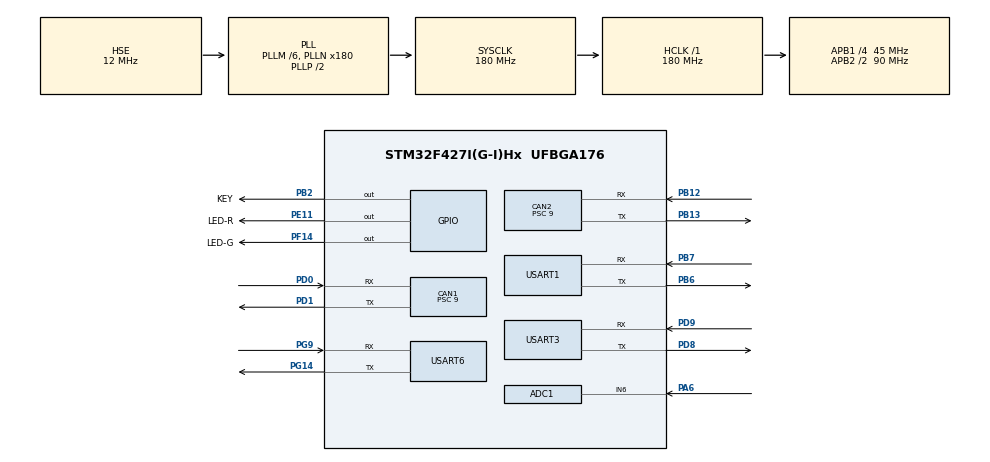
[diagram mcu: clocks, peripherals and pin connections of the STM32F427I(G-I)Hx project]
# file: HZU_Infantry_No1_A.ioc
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ADC1.Channel-0\#ChannelRegularConversion=ADC_CHANNEL_6
ADC1.NbrOfConversionFlag=1
ADC1.Rank-0\#ChannelRegularConversion=1
ADC1.SamplingTime-0\#ChannelRegularConversion=ADC_SAMPLETIME_3CYCLES
ADC1.master=1
CAN1.BS1=CAN_BS1_3TQ
CAN1.BS2=CAN_BS2_1TQ
CAN1.CalculateBaudRate=1000000
CAN1.CalculateTimeBit=1000
CAN1.CalculateTimeQuantum=200.0
CAN1.Prescaler=9
CAN2.BS1=CAN_BS1_3TQ
CAN2.BS2=CAN_BS2_1TQ
CAN2.CalculateBaudRate=1000000
CAN2.CalculateTimeBit=1000
CAN2.CalculateTimeQuantum=200.0
CAN2.Prescaler=9
Dma.Request0=USART3_RX
Dma.Request1=USART3_TX
Dma.USART3_RX.0.Direction=DMA_PERIPH_TO_MEMORY
Dma.USART3_RX.0.FIFOMode=DMA_FIFOMODE_DISABLE
Dma.USART3_RX.0.Instance=DMA1_Stream1
Dma.USART3_RX.0.MemDataAlignment=DMA_MDATAALIGN_BYTE
Dma.USART3_RX.0.MemInc=DMA_MINC_ENABLE
Dma.USART3_RX.0.Mode=DMA_CIRCULAR
Dma.USART3_RX.0.PeriphDataAlignment=DMA_PDATAALIGN_BYTE
Dma.USART3_RX.0.PeriphInc=DMA_PINC_DISABLE
Dma.USART3_RX.0.Priority=DMA_PRIORITY_VERY_HIGH
Dma.USART3_TX.1.Direction=DMA_MEMORY_TO_PERIPH
Dma.USART3_TX.1.FIFOMode=DMA_FIFOMODE_DISABLE
Dma.USART3_TX.1.Instance=DMA1_Stream3
Dma.USART3_TX.1.MemDataAlignment=DMA_MDATAALIGN_BYTE
Dma.USART3_TX.1.MemInc=DMA_MINC_ENABLE
Dma.USART3_TX.1.Mode=DMA_CIRCULAR
Dma.USART3_TX.1.PeriphDataAlignment=DMA_PDATAALIGN_BYTE
Dma.USART3_TX.1.PeriphInc=DMA_PINC_DISABLE
Dma.USART3_TX.1.Priority=DMA_PRIORITY_VERY_HIGH
FREERTOS.INCLUDE_pcTaskGetTaskName=1
FREERTOS.INCLUDE_uxTaskGetStackHighWaterMark2=1
FREERTOS.INCLUDE_vTaskCleanUpResources=1
FREERTOS.INCLUDE_xEventGroupSetBitFromISR=1
FREERTOS.INCLUDE_xSemaphoreGetMutexHolder=1
FREERTOS.INCLUDE_xTaskAbortDelay=1
FREERTOS.INCLUDE_xTaskGetCurrentTaskHandle=1
FREERTOS.INCLUDE_xTaskGetHandle=1
FREERTOS.Tasks01=defaultTask,24,256,StartDefaultTask,Default,NULL,Dynamic,NULL,NULL
FREERTOS.configENABLE_BACKWARD_COMPATIBILITY=0
FREERTOS.configENABLE_FPU=1
FREERTOS.configGENERATE_RUN_TIME_STATS=1
FREERTOS.configRECORD_STACK_HIGH_ADDRESS=1
FREERTOS.configUSE_STATS_FORMATTING_FUNCTIONS=1
Mcu.Family=STM32F4
Mcu.Name=STM32F427I(G-I)Hx
Mcu.Package=UFBGA176
NVIC.ADC_IRQn=true\:5\:0\:false\:false\:true\:true\:true\:true\:true
NVIC.CAN1_RX0_IRQn=true\:5\:0\:false\:false\:true\:true\:true\:true\:true
NVIC.CAN1_RX1_IRQn=true\:5\:0\:false\:false\:true\:true\:true\:true\:true
NVIC.CAN1_TX_IRQn=true\:5\:0\:false\:false\:true\:true\:true\:true\:true
NVIC.CAN2_RX0_IRQn=true\:5\:0\:false\:false\:true\:true\:true\:true\:true
NVIC.CAN2_RX1_IRQn=true\:5\:0\:false\:false\:true\:true\:true\:true\:true
NVIC.CAN2_TX_IRQn=true\:5\:0\:false\:false\:true\:true\:true\:true\:true
NVIC.DMA1_Stream1_IRQn=true\:5\:0\:false\:false\:true\:true\:false\:true\:true
NVIC.DMA1_Stream3_IRQn=true\:5\:0\:false\:false\:true\:true\:false\:true\:true
NVIC.PriorityGroup=NVIC_PRIORITYGROUP_4
NVIC.TIM1_UP_TIM10_IRQn=true\:0\:0\:false\:false\:true\:false\:false\:true\:true
NVIC.TIM3_IRQn=true\:5\:0\:false\:false\:true\:true\:true\:true\:true
NVIC.TIM7_IRQn=true\:5\:0\:false\:false\:true\:true\:true\:true\:true
NVIC.TimeBase=TIM1_UP_TIM10_IRQn
NVIC.TimeBaseIP=TIM1
NVIC.USART1_IRQn=true\:5\:0\:false\:false\:true\:true\:true\:true\:true
NVIC.USART3_IRQn=true\:5\:0\:false\:false\:true\:true\:true\:true\:true
NVIC.USART6_IRQn=true\:5\:0\:false\:false\:true\:true\:true\:true\:true
PA13.Mode=Serial_Wire
PA13.Signal=SYS_JTMS-SWDIO
PA14.Mode=Serial_Wire
PA14.Signal=SYS_JTCK-SWCLK
PA6.Signal=ADCx_IN6
PB12.Mode=CAN_Activate
PB12.Signal=CAN2_RX
PB13.Mode=CAN_Activate
PB13.Signal=CAN2_TX
PB2/BOOT1.GPIO_Label=KEY
PB2/BOOT1.GPIO_ModeDefaultOutputPP=GPIO_MODE_OUTPUT_PP
PB2/BOOT1.GPIO_PuPd=GPIO_PULLUP
PB2/BOOT1.GPIO_Speed=GPIO_SPEED_FREQ_VERY_HIGH
PB2/BOOT1.Signal=GPIO_Output
PB6.Mode=Asynchronous
PB6.Signal=USART1_TX
PB7.Mode=Asynchronous
PB7.Signal=USART1_RX
PD0.Mode=CAN_Activate
PD0.Signal=CAN1_RX
PD1.Mode=CAN_Activate
PD1.Signal=CAN1_TX
PD8.Mode=Asynchronous
PD8.Signal=USART3_TX
PD9.Mode=Asynchronous
PD9.Signal=USART3_RX
PE11.GPIO_Label=LED-R
PE11.GPIO_PuPd=GPIO_PULLUP
PE11.GPIO_Speed=GPIO_SPEED_FREQ_VERY_HIGH
PE11.Signal=GPIO_Output
PF14.GPIO_Label=LED-G
PF14.GPIO_PuPd=GPIO_PULLUP
PF14.GPIO_Speed=GPIO_SPEED_FREQ_VERY_HIGH
PF14.Signal=GPIO_Output
PG14.Mode=Asynchronous
PG14.Signal=USART6_TX
PG9.Mode=Asynchronous
PG9.Signal=USART6_RX
PH0/OSC_IN.Mode=HSE-External-Oscillator
PH0/OSC_IN.Signal=RCC_OSC_IN
PH1/OSC_OUT.Mode=HSE-External-Oscillator
PH1/OSC_OUT.Signal=RCC_OSC_OUT
ProjectManager.HeapSize=0x200
ProjectManager.StackSize=0x400
ProjectManager.TargetToolchain=MDK-ARM V5.27
RCC.48MHZClocksFreq_Value=90000000
RCC.AHBFreq_Value=180000000
RCC.APB1CLKDivider=RCC_HCLK_DIV4
RCC.APB1Freq_Value=45000000
RCC.APB1TimFreq_Value=90000000
RCC.APB2CLKDivider=RCC_HCLK_DIV2
RCC.APB2Freq_Value=90000000
RCC.APB2TimFreq_Value=180000000
RCC.CortexFreq_Value=180000000
RCC.HCLKFreq_Value=180000000
RCC.HSE_VALUE=12000000
RCC.HSI_VALUE=16000000
RCC.LSE_VALUE=32768
RCC.PLLM=6
RCC.PLLN=180
RCC.PLLSourceVirtual=RCC_PLLSOURCE_HSE
RCC.SYSCLKFreq_VALUE=180000000
RCC.SYSCLKSource=RCC_SYSCLKSOURCE_PLLCLK
RCC.VCOOutputFreq_Value=360000000
SH.ADCx_IN6.0=ADC1_IN6,IN6
TIM3.Period=54
TIM3.Prescaler=84
TIM7.AutoReloadPreload=TIM_AUTORELOAD_PRELOAD_ENABLE
TIM7.Period=999
TIM7.Prescaler=89
USART1.VirtualMode=VM_ASYNC
USART3.VirtualMode=VM_ASYNC
USART6.VirtualMode=VM_ASYNC
VP_FREERTOS_VS_CMSIS_V2.Mode=CMSIS_V2
VP_SYS_VS_tim1.Mode=TIM1
VP_TIM3_VS_ClockSourceINT.Mode=Internal
VP_TIM7_VS_ClockSourceINT.Mode=Enable_Timer
board=custom

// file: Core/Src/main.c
/* USER CODE BEGIN Header */
/**
  ******************************************************************************
  * @file           : main.c
  * @brief          : Main program body
  ******************************************************************************
  * @attention
  *
  * <h2><center>&copy; Copyright (c) 2021 STMicroelectronics.
  * All rights reserved.</center></h2>
  *
  * This software component is licensed by ST under BSD 3-Clause license,
  * the "License"; You may not use this file except in compliance with the
  * License. You may obtain a copy of the License at:
  *                        opensource.org/licenses/BSD-3-Clause
  *
  ******************************************************************************
  */
/* USER CODE END Header */
#include "main.h"
#include "cmsis_os.h"
#include "adc.h"
#include "can.h"
#include "dma.h"
#include "tim.h"
#include "usart.h"
#include "gpio.h"

/* USER CODE BEGIN Includes */
#include "string.h"
#include "chassis_task.h"
/* USER CODE END Includes */

/* USER CODE BEGIN PV */
uint8_t usart3_rx_data[usart3_RX_BUFF_SIZE];
extern UART_HandleTypeDef huart3;
extern DMA_HandleTypeDef hdma_usart3_rx;
extern DMA_HandleTypeDef hdma_usart3_tx;
/* USER CODE END PV */

void SystemClock_Config(void);
void MX_FREERTOS_Init(void);
/* USER CODE BEGIN PFP */
extern volatile uint64_t freertos_run_time;
/* USER CODE END PFP */

/* USER CODE BEGIN 0 */
void HAL_UART_RxCpltCallback(UART_HandleTypeDef *huart)
{
		__HAL_UART_CLEAR_IDLEFLAG(&huart3);
		HAL_UART_DMAStop(&huart3);                                        //停止本次DMA传输
		uint8_t data_length  = DMA_UsART3_SIZE - __HAL_DMA_GET_COUNTER(&hdma_usart3_tx);   //计算接收到的数据长度
		process_judge_message( usart3_rx_data );
		memset(usart3_rx_data,0,data_length);                                            //清零接收缓冲区
		HAL_UART_Receive_DMA(&huart3, usart3_rx_data, DMA_UsART3_SIZE);                    //重启开始DMA传输 每次255字节数据
}

/* USER CODE END 0 */

int main(void)
{

  /* MCU Configuration--------------------------------------------------------*/

  /* Reset of all peripherals, Initializes the Flash interface and the Systick. */
  HAL_Init();

  /* Configure the system clock */
  SystemClock_Config();

  /* Initialize all configured peripherals */
  MX_GPIO_Init();
  MX_DMA_Init();
  MX_CAN1_Init();
  MX_CAN2_Init();
  MX_TIM7_Init();
  MX_USART3_UART_Init();
  MX_ADC1_Init();
  MX_USART1_UART_Init();
  MX_USART6_UART_Init();
  MX_TIM3_Init();
  /* USER CODE BEGIN 2 */
  freertos_run_tim3_configuration();
  CAN_APP_INIT();    //can过滤器初始化
  LED_Init();        // OLED屏幕初始化
  delay_init(180);  // 这个delay_init必须放在OLED初始化后面

  // check_connect(&connect_data);//判断底盘云台是否连接
  /* USER CODE END 2 */

  /* Init scheduler */
  osKernelInitialize();  /* Call init function for freertos objects (in freertos.c) */
  MX_FREERTOS_Init();
  /* Start scheduler */
  osKernelStart();

  /* We should never get here as control is now taken by the scheduler */
  /* Infinite loop */
  while (1)
  {

  }
}

void SystemClock_Config(void)
{
  RCC_OscInitTypeDef RCC_OscInitStruct = {0};
  RCC_ClkInitTypeDef RCC_ClkInitStruct = {0};

  /** Configure the main internal regulator output voltage
  */
  __HAL_RCC_PWR_CLK_ENABLE();
  __HAL_PWR_VOLTAGESCALING_CONFIG(PWR_REGULATOR_VOLTAGE_SCALE1);
  /** Initializes the RCC Oscillators according to the specified parameters
  * in the RCC_OscInitTypeDef structure.
  */
  RCC_OscInitStruct.OscillatorType = RCC_OSCILLATORTYPE_HSE;
  RCC_OscInitStruct.HSEState = RCC_HSE_ON;
  RCC_OscInitStruct.PLL.PLLState = RCC_PLL_ON;
  RCC_OscInitStruct.PLL.PLLSource = RCC_PLLSOURCE_HSE;
  RCC_OscInitStruct.PLL.PLLM = 6;
  RCC_OscInitStruct.PLL.PLLN = 180;
  RCC_OscInitStruct.PLL.PLLP = RCC_PLLP_DIV2;
  RCC_OscInitStruct.PLL.PLLQ = 4;
  if (HAL_RCC_OscConfig(&RCC_OscInitStruct) != HAL_OK)
  {
    Error_Handler();
  }
  /** Activate the Over-Drive mode
  */
  if (HAL_PWREx_EnableOverDrive() != HAL_OK)
  {
    Error_Handler();
  }
  /** Initializes the CPU, AHB and APB buses clocks
  */
  RCC_ClkInitStruct.ClockType = RCC_CLOCKTYPE_HCLK|RCC_CLOCKTYPE_SYSCLK
                              |RCC_CLOCKTYPE_PCLK1|RCC_CLOCKTYPE_PCLK2;
  RCC_ClkInitStruct.SYSCLKSource = RCC_SYSCLKSOURCE_PLLCLK;
  RCC_ClkInitStruct.AHBCLKDivider = RCC_SYSCLK_DIV1;
  RCC_ClkInitStruct.APB1CLKDivider = RCC_HCLK_DIV4;
  RCC_ClkInitStruct.APB2CLKDivider = RCC_HCLK_DIV2;

  if (HAL_RCC_ClockConfig(&RCC_ClkInitStruct, FLASH_LATENCY_5) != HAL_OK)
  {
    Error_Handler();
  }
}

/* USER CODE BEGIN 4 */
extern chassis_control_data_t chassis_control_data;
extern chassis_pid_t chassis_pid;
/* USER CODE END 4 */

 /**
  * @brief  Period elapsed callback in non blocking mode
  * @note   This function is called  when TIM1 interrupt took place, inside
  * HAL_TIM_IRQHandler(). It makes a direct call to HAL_IncTick() to increment
  * a global variable "uwTick" used as application time base.
  * @param  htim : TIM handle
  * @retval None
  */
void HAL_TIM_PeriodElapsedCallback(TIM_HandleTypeDef *htim)
{
  if (htim->Instance == TIM1) {
    HAL_IncTick();
  }
  /* USER CODE BEGIN Callback 1 */
else if(htim->Instance == TIM3)
	{
		freertos_run_time ++;
	}
else if(htim->Instance== htim7.Instance)//中断执行保证速度稳定
    {
        // if(tim7_cnt++==1000)
        // {
        //     tim7_cnt=0;
        //     LED_PrintValueI(10,5,time_s++);
        // }
        chassis_set_and_fdb_update(&chassis_control_data, &chassis_pid);
		    // chassis_pid_calculate(&chassis_control_data, &chassis_pid);

    }
  /* USER CODE END Callback 1 */
}

void Error_Handler(void)
{
  __disable_irq();
  while (1)
  {
  }
}

/************************ (C) COPYRIGHT STMicroelectronics *****END OF FILE****/
